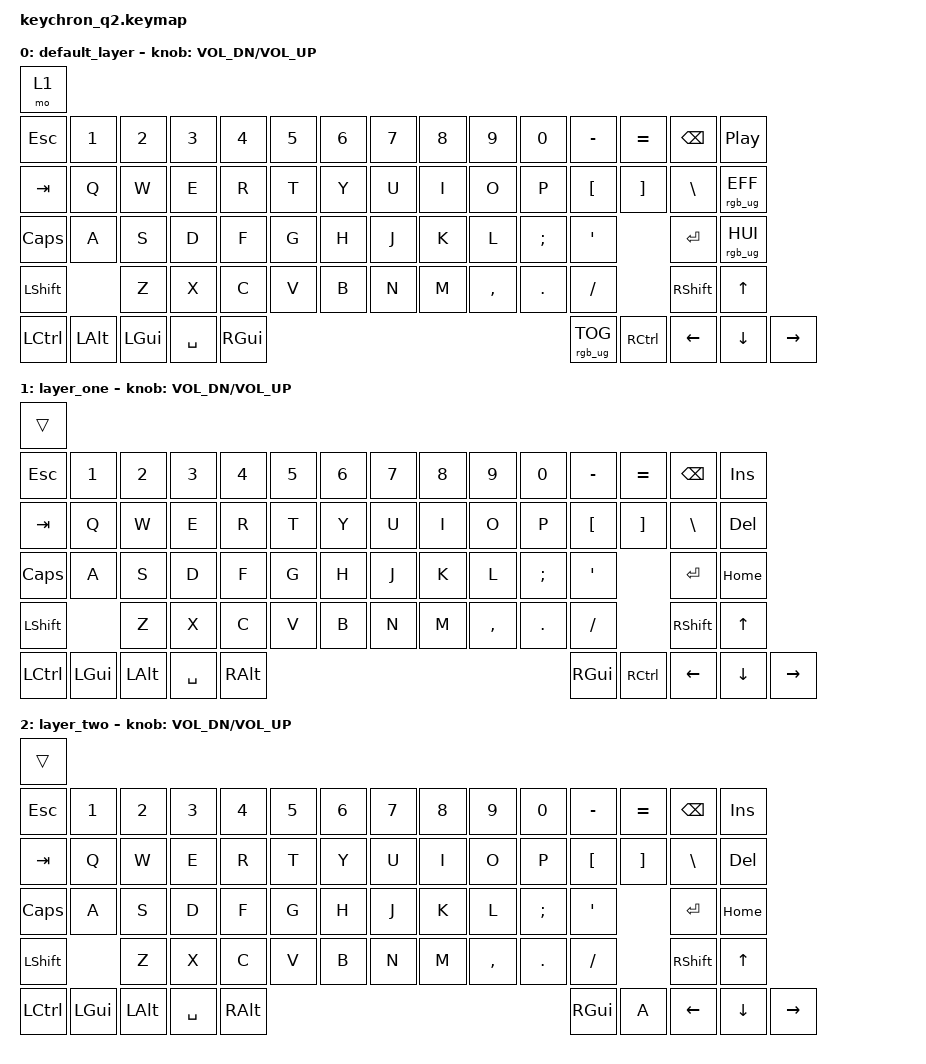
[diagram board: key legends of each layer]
/*
 * Copyright (c) 2023 The ZMK Contributors
 *
 * SPDX-License-Identifier: MIT
 */

#include <behaviors.dtsi>
#include <dt-bindings/zmk/keys.h>
#include <dt-bindings/zmk/rgb.h>

&main_encoder {
    status = "okay";
};

/ {
    behaviors {
    };

    keymap {
        compatible = "zmk,keymap";
// the &mo 1 should change the layer (mac/win), and corresponds to RC(4,4) in the .dts (devicetree) file
// default_layer is "mac"
// layer_one     is "win"
        default_layer {
            bindings = <
    &mo 1
    &kp ESC    &kp N1   &kp N2  &kp N3 &kp N4 &kp N5 &kp N6 &kp N7 &kp N8 &kp N9    &kp N0   &kp MINUS        &kp EQUAL &kp BSPC             &kp C_PLAY_PAUSE
    &kp TAB    &kp Q    &kp W   &kp E  &kp R  &kp T  &kp Y  &kp U  &kp I  &kp O     &kp P    &kp LBKT         &kp RBKT  &kp BSLH             &rgb_ug RGB_EFF
    &kp CLCK   &kp A    &kp S   &kp D  &kp F  &kp G  &kp H  &kp J  &kp K  &kp L     &kp SEMI &kp SQT                    &kp RET              &rgb_ug RGB_HUI
    &kp LSHFT           &kp Z   &kp X  &kp C  &kp V  &kp B  &kp N  &kp M  &kp COMMA &kp DOT  &kp FSLH                   &kp RSHFT &kp UP
    &kp LCTRL  &kp LALT &kp LGUI                     &kp SPACE                      &kp RGUI &rgb_ug RGB_TOG  &kp RCTRL &kp LEFT  &kp DOWN &kp RIGHT
            >;
            sensor-bindings = <&inc_dec_kp C_VOL_DN C_VOL_UP>;
        };
        layer_one {
            bindings = <
    &trans
    &kp ESC    &kp N1   &kp N2  &kp N3 &kp N4 &kp N5 &kp N6 &kp N7 &kp N8 &kp N9    &kp N0   &kp MINUS &kp EQUAL &kp BSPC           &kp INSERT
    &kp TAB    &kp Q    &kp W   &kp E  &kp R  &kp T  &kp Y  &kp U  &kp I  &kp O     &kp P    &kp LBKT  &kp RBKT  &kp BSLH           &kp DEL
    &kp CLCK   &kp A    &kp S   &kp D  &kp F  &kp G  &kp H  &kp J  &kp K  &kp L     &kp SEMI &kp SQT             &kp RET            &kp HOME
    &kp LSHFT           &kp Z   &kp X  &kp C  &kp V  &kp B  &kp N  &kp M  &kp COMMA &kp DOT  &kp FSLH            &kp RSHFT &kp UP
    &kp LCTRL  &kp LGUI &kp LALT                     &kp SPACE                      &kp RALT &kp RGUI  &kp RCTRL &kp LEFT  &kp DOWN &kp RIGHT
            >;
            sensor-bindings = <&inc_dec_kp C_VOL_DN C_VOL_UP>;
        };

        layer_two {
            bindings = <
    &trans
    &kp ESC    &kp N1   &kp N2  &kp N3 &kp N4 &kp N5 &kp N6 &kp N7 &kp N8 &kp N9    &kp N0   &kp MINUS &kp EQUAL &kp BSPC           &kp INSERT
    &kp TAB    &kp Q    &kp W   &kp E  &kp R  &kp T  &kp Y  &kp U  &kp I  &kp O     &kp P    &kp LBKT  &kp RBKT  &kp BSLH           &kp DEL
    &kp CLCK   &kp A    &kp S   &kp D  &kp F  &kp G  &kp H  &kp J  &kp K  &kp L     &kp SEMI &kp SQT             &kp RET            &kp HOME
    &kp LSHFT           &kp Z   &kp X  &kp C  &kp V  &kp B  &kp N  &kp M  &kp COMMA &kp DOT  &kp FSLH            &kp RSHFT &kp UP
    &kp LCTRL  &kp LGUI &kp LALT                     &kp SPACE                      &kp RALT &kp RGUI  &kp A     &kp LEFT  &kp DOWN &kp RIGHT
            >;
            sensor-bindings = <&inc_dec_kp C_VOL_DN C_VOL_UP>;
        };
    };
};
